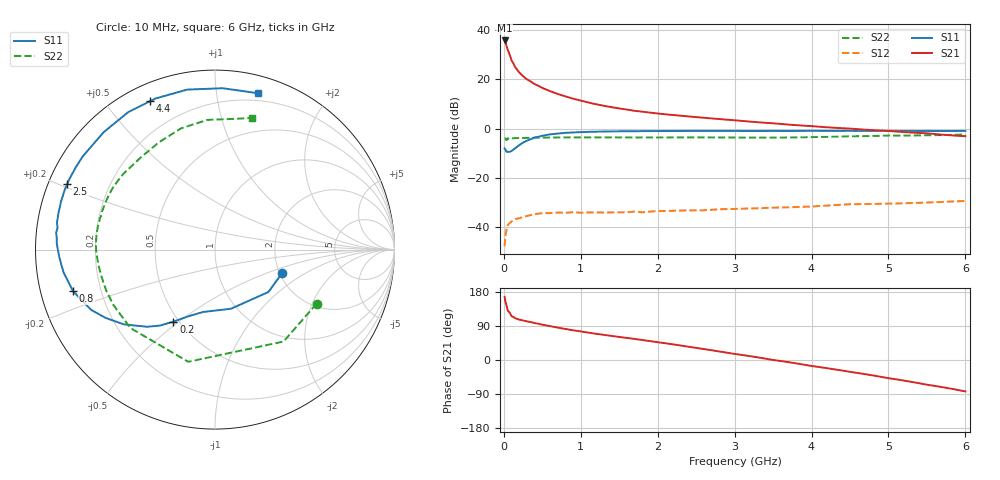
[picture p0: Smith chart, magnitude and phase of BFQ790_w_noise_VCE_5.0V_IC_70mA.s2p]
! (c) 2015  Infineon Technologies AG, Munich
! Infineon Technologies  Discrete & RF Semiconductors
! BFQ790
! VCE =  5.0 V,  IC =  70 mA
! Common Emitter S-Parameters:  May 2015
# GHz  S  MA  R  50
!  f  S11  S21  S12  S22
! GHz  MAG  ANG  MAG  ANG  MAG  ANG  MAG  ANG
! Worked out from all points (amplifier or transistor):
!   77 points, 10 MHz to 6 GHz, reference 50 ohm
!   highest |S21| = 35.9 dB at 10 MHz (marker M1)
!   |S21| within 3 dB of that: start of sweep to 42.36 MHz
!   unconditionally stable (mu >= 1): start of sweep to 13.97 MHz; 230.8 MHz to 359.6 MHz; 1.227 GHz to end of sweep
!   at 130 MHz: K = 0.81, MSG = 31.6 dB, |S12| = -37.1 dB
!   at 2.2 GHz: K = 1.20, MAG = 16.8 dB, |S12| = -33.4 dB
!   at 6 GHz: K = 1.41, MAG = 9.3 dB, |S12| = -29.3 dB
!   lowest NFmin = 2.39 dB at 1.5 GHz
!   S11 on the Smith chart (normalised r, x): 10 MHz: 2.05, -0.64; 200 MHz: 0.47, -0.48; 800 MHz: 0.10, -0.14; 2.5 GHz: 0.05, +0.21; 4.4 GHz: 0.07, +0.65; 6 GHz: 0.14, +1.31
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0.01  0.3954 -19.6  62.1 166.4  0.0041 36.6  0.6413 -28.0
0.02  0.3801 -38.4  57.77 154.0  0.0067 43.6  0.6388 -53.3
0.05  0.3414 -74.9  40.27 130.6  0.011 30.5  0.6426 -103.4
0.1  0.3542 -101.0  24.48 115.6  0.013 23.0  0.6427 -137.2
0.15  0.4038 -112.4  17.59 110.0  0.0146 20.0  0.6444 -151.4
0.2  0.4634 -120.0  13.9 106.6  0.0152 21.8  0.6475 -159.0
0.25  0.5223 -125.9  11.66 104.3  0.016 17.5  0.6486 -163.9
0.3  0.5722 -131.3  10.07 102.0  0.0168 16.4  0.6503 -167.5
0.4  0.6576 -140.7  8.08 97.5  0.0184 12.2  0.6554 -172.7
0.5  0.7175 -147.9  6.748 93.3  0.0192 8.8  0.6582 -176.3
0.6  0.7672 -154.0  5.812 89.4  0.0193 7.9  0.662 -179.3
0.7  0.7954 -159.4  5.081 85.5  0.0198 7.4  0.6634 178.3
0.8  0.824 -163.7  4.541 81.9  0.0195 4.0  0.6641 176.4
1.1  0.8612 -174.7  3.402 72.2  0.0199 0.8  0.6654 171.3
1.5  0.8841 175.8  2.578 60.8  0.02 -2.1  0.6638 166.0
2.1  0.8965 164.6  1.964 44.2  0.0213 -5.4  0.6638 158.0
2.5  0.9005 156.2  1.72 32.0  0.0219 -8.7  0.6648 151.1
3.1  0.8987 142.5  1.437 13.2  0.0237 -14.6  0.6597 138.3
4.1  0.9032 120.1  1.097 -18.6  0.0268 -23.9  0.6777 115.0
4.4  0.9025 113.6  1.023 -27.9  0.0286 -27.4  0.6939 107.9
5.1  0.9004 97.4  0.876 -51.0  0.0302 -39.5  0.724 91.1
6  0.9038 74.5  0.704 -82.9  0.0341 -55.8  0.761 74.5
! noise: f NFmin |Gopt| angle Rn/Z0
0.45  3.41  0.35  124  0.37
0.9  2.51  0.5  160  0.14
1.5  2.39  0.64  -177  0.07
1.8  2.55  0.66  -171  0.08
2.6  3.1  0.72  -154  0.18
3.5  3.83  0.82  -137  0.48
